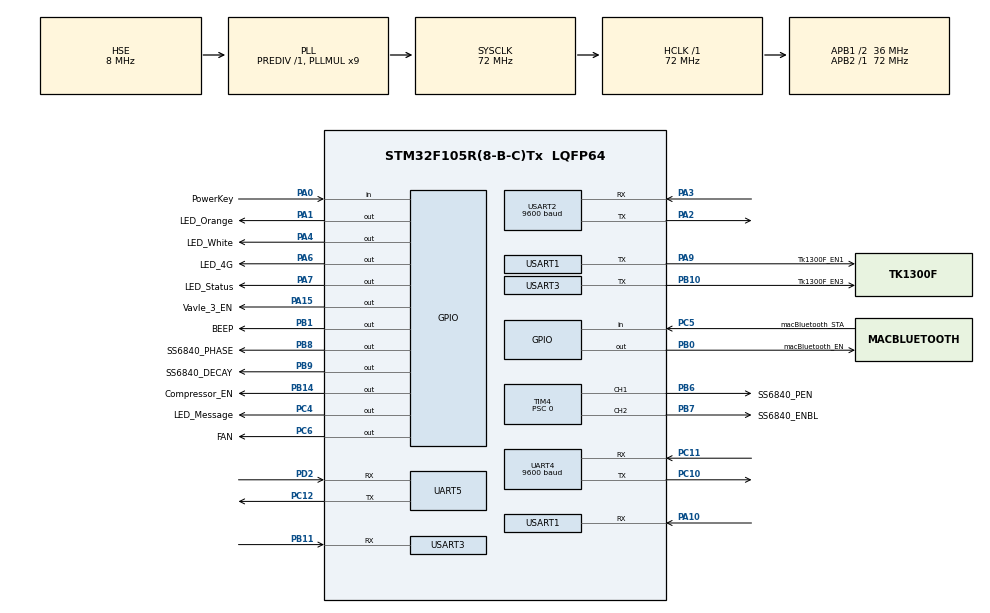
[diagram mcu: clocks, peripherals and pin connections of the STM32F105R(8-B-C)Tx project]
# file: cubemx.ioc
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Mcu.Family=STM32F1
Mcu.Name=STM32F105R(8-B-C)Tx
Mcu.Package=LQFP64
NVIC.PriorityGroup=NVIC_PRIORITYGROUP_4
PA0-WKUP.GPIO_Label=PowerKey
PA0-WKUP.GPIO_PuPd=GPIO_PULLUP
PA0-WKUP.Signal=GPIO_Input
PA1.GPIO_Label=LED_Orange
PA1.GPIO_Speed=GPIO_SPEED_FREQ_HIGH
PA1.Signal=GPIO_Output
PA10.Mode=Asynchronous
PA10.Signal=USART1_RX
PA13.Mode=Serial_Wire
PA13.Signal=SYS_JTMS-SWDIO
PA14.Mode=Serial_Wire
PA14.Signal=SYS_JTCK-SWCLK
PA15.GPIO_Label=Vavle_3_EN
PA15.GPIO_Speed=GPIO_SPEED_FREQ_HIGH
PA15.Signal=GPIO_Output
PA2.Mode=Asynchronous
PA2.Signal=USART2_TX
PA3.Mode=Asynchronous
PA3.Signal=USART2_RX
PA4.GPIO_Label=LED_White
PA4.GPIO_Speed=GPIO_SPEED_FREQ_HIGH
PA4.Signal=GPIO_Output
PA6.GPIO_Label=LED_4G
PA6.GPIO_Speed=GPIO_SPEED_FREQ_HIGH
PA6.Signal=GPIO_Output
PA7.GPIO_Label=LED_Status
PA7.GPIO_Speed=GPIO_SPEED_FREQ_HIGH
PA7.Signal=GPIO_Output
PA9.GPIO_Label=Tk1300F_EN1
PA9.Mode=Asynchronous
PA9.Signal=USART1_TX
PB0.GPIO_Label=macBluetooth_EN
PB0.GPIO_Speed=GPIO_SPEED_FREQ_HIGH
PB0.Signal=GPIO_Output
PB1.GPIO_Label=BEEP
PB1.GPIO_Speed=GPIO_SPEED_FREQ_HIGH
PB1.Signal=GPIO_Output
PB10.GPIO_Label=Tk1300F_EN3
PB10.Mode=Asynchronous
PB10.Signal=USART3_TX
PB11.Mode=Asynchronous
PB11.Signal=USART3_RX
PB14.GPIO_Label=Compressor_EN
PB14.GPIO_Speed=GPIO_SPEED_FREQ_HIGH
PB14.Signal=GPIO_Output
PB6.GPIO_Label=SS6840_PEN
PB6.Signal=S_TIM4_CH1
PB7.GPIO_Label=SS6840_ENBL
PB7.Signal=S_TIM4_CH2
PB8.GPIO_Label=SS6840_PHASE
PB8.GPIO_Speed=GPIO_SPEED_FREQ_HIGH
PB8.Signal=GPIO_Output
PB9.GPIO_Label=SS6840_DECAY
PB9.GPIO_Speed=GPIO_SPEED_FREQ_HIGH
PB9.Signal=GPIO_Output
PC10.Mode=Asynchronous
PC10.Signal=UART4_TX
PC11.Mode=Asynchronous
PC11.Signal=UART4_RX
PC12.Mode=Asynchronous
PC12.Signal=UART5_TX
PC4.GPIO_Label=LED_Message
PC4.GPIO_Speed=GPIO_SPEED_FREQ_HIGH
PC4.Signal=GPIO_Output
PC5.GPIO_Label=macBluetooth_STA
PC5.GPIO_PuPd=GPIO_PULLDOWN
PC5.Signal=GPIO_Input
PC6.GPIO_Label=FAN
PC6.GPIO_Speed=GPIO_SPEED_FREQ_HIGH
PC6.Signal=GPIO_Output
PD0-OSC_IN.Mode=HSE-External-Oscillator
PD0-OSC_IN.Signal=RCC_OSC_IN
PD1-OSC_OUT.Mode=HSE-External-Oscillator
PD1-OSC_OUT.Signal=RCC_OSC_OUT
PD2.Mode=Asynchronous
PD2.Signal=UART5_RX
ProjectManager.HeapSize=0x200
ProjectManager.StackSize=0x400
ProjectManager.TargetToolchain=MDK-ARM V5.32
RCC.AHBFreq_Value=72000000
RCC.APB1CLKDivider=RCC_HCLK_DIV2
RCC.APB1Freq_Value=36000000
RCC.APB1TimFreq_Value=72000000
RCC.APB2Freq_Value=72000000
RCC.APB2TimFreq_Value=72000000
RCC.HCLKFreq_Value=72000000
RCC.PLLMUL=RCC_PLL_MUL9
RCC.PLLSourceVirtual=RCC_PLLSOURCE_HSE
RCC.SYSCLKFreq_VALUE=72000000
RCC.SYSCLKSource=RCC_SYSCLKSOURCE_PLLCLK
RCC.USBFreq_Value=48000000
SH.S_TIM4_CH1.0=TIM4_CH1,PWM Generation1 CH1
SH.S_TIM4_CH2.0=TIM4_CH2,PWM Generation2 CH2
TIM4.AutoReloadPreload=TIM_AUTORELOAD_PRELOAD_ENABLE
TIM4.Channel-PWM\ Generation1\ CH1=TIM_CHANNEL_1
TIM4.Channel-PWM\ Generation2\ CH2=TIM_CHANNEL_2
TIM4.Period=65535
TIM4.Prescaler=0
UART4.BaudRate=9600
UART4.VirtualMode=Asynchronous
UART5.VirtualMode=Asynchronous
USART1.BaudRate=9600
USART1.Mode=MODE_RX
USART1.VirtualMode=VM_ASYNC
USART2.BaudRate=9600
USART2.VirtualMode=VM_ASYNC
USART3.BaudRate=9600
USART3.Mode=MODE_RX
USART3.VirtualMode=VM_ASYNC
board=custom

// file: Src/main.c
/* USER CODE BEGIN Header */
/**
  ******************************************************************************
  * @file           : main.c
  * @brief          : Main program body
  ******************************************************************************
  * @attention
  *
  * Copyright (c) 2024 STMicroelectronics.
  * All rights reserved.
  *
  * This software is licensed under terms that can be found in the LICENSE file
  * in the root directory of this software component.
  * If no LICENSE file comes with this software, it is provided AS-IS.
  *
  ******************************************************************************
  */
/* USER CODE END Header */
#include "main.h"

TIM_HandleTypeDef htim4;

UART_HandleTypeDef huart4;
UART_HandleTypeDef huart5;
UART_HandleTypeDef huart1;
UART_HandleTypeDef huart2;
UART_HandleTypeDef huart3;

void SystemClock_Config(void);
static void MX_GPIO_Init(void);
static void MX_UART5_Init(void);
static void MX_USART2_UART_Init(void);
static void MX_UART4_Init(void);
static void MX_USART1_UART_Init(void);
static void MX_USART3_UART_Init(void);
static void MX_TIM4_Init(void);
/* USER CODE BEGIN PFP */
extern void Proportional_Flow_Mode_Config(Mode_StructType mode);
extern void Proportional_Takt_Mode_Config(Mode_StructType mode);
/* USER CODE END PFP */

__WEAK int main(void)
{

  /* USER CODE BEGIN 1 */
  static rt_uint8_t BluetoothInitCnt = 0;
  static rt_uint8_t AutoHandCheckCnt = 0;
  static rt_uint8_t PowerLEDToggleCnt = 0;
  static rt_uint8_t OldModeCnt = 0;
  static rt_uint8_t HandStopCmdCnt = 0;
  static rt_uint32_t OldModeTick = 0;
  static rt_uint8_t SleepCnt = 0;

  rt_tick_t time_tick;
  extern uint8_t nowLocationCnt;
  /* USER CODE END 1 */

  /* MCU Configuration--------------------------------------------------------*/

  /* Reset of all peripherals, Initializes the Flash interface and the Systick. */
  HAL_Init();

  /* USER CODE BEGIN Init */
  Flag.Solenoid_Valve3_Limit = 0;
  Flag.OldMode = 0;
  Flag.APPWorkStatus = 0;
  Flag.SysConnectStatus = 0;

  /* USER CODE END Init */

  /* Configure the system clock */
  SystemClock_Config();

  /* Initialize all configured peripherals */
  MX_GPIO_Init();
  MX_UART5_Init();
  MX_USART2_UART_Init();
  MX_UART4_Init();
  MX_USART1_UART_Init();
  MX_USART3_UART_Init();
  MX_TIM4_Init();
  keyTimer_Init();
  Power_EN();

  uart2_decodeThread_Init();
  uart4_decodeThread_Init();
  /* USER CODE BEGIN 2 */
  PWM_Init();
  Record.KeyPowerCnt = 0;
  // 所有的硬件上电初始化在此进行 -------------------------------------------------------------------------------------------------
  /*! 上电初始化 -- 主气路初始化 */
  Main_Gas_Circuit_Off();
  Compressor_Off();
  /*! 风扇初始化 -- 关闭风扇 */
  Fan_Off();
  /*! SS6840H比例阀工作模式初始化 */
  SS6840H_Mode_Config(H_decay,clockwise);
  /* 关闭比例阀 */
  Proportional_Flow_Mode_Config(MODE_ZERO);
  /* 关闭比例阀使能 */
  Proportional_Takt_Mode_Config(MODE_FIVE);
  fal_init();
#if USE_MOVING_AVERAGE_FILTER
  /*! 初始化滤波器 */
  Init_filter(&Mov_Filtre);
#endif
  /* USER CODE END 2 */

  /* Infinite loop */
  while (1)
  {

    /* USER CODE BEGIN 3 */
    // 这是非老化模式运行的程序--------------------------------------------------------------------------------
    if(Flag.OldMode == 0)
    {
        if(Record.HandReset == 1){
              Proportional_Flow_Mode_Config(MODE_ZERO);
              Proportional_Takt_Mode_Config(MODE_FIVE);
        }

        if(Flag.Action == 1){
            Record.Hand_Location = 0x64;
            USART2_Order_to_Andriod(Order_Android_ACT_HAND_LOCATION_CMD);
            rt_thread_mdelay(50);
            Flag.Hand_ReturnStatus = 1;
            Record.HandReset = 1;
            USART2_Order_to_Andriod(Order_Android_ACT_HAND_IS_RETURNING_STATUS);
            rt_thread_mdelay(50);
            /* 控制手柄回退 */
            USART4_Order_to_Mechanical_Handle(Order_HAND_ACT_CTRL_BACK);
            Flag.Action = 0;
        }

     /* 蓝牙连接检测  -- 断开关闭所有功能 */
     if((((Flag.SysConnectStatus == 1) && (Record.KeyPowerCnt == 1)) && (BLUETOOTH_GetState() == 0)) || (Flag.SleepMode == 1)){
         /* 关闭比例阀 */
         Proportional_Flow_Mode_Config(MODE_ZERO);
         /* 关闭比例阀使能 */
         Proportional_Takt_Mode_Config(MODE_FIVE);
         /* 断开压缩机和风扇 */
         Compressor_Off();
         LED_Off(LED_Name_Status);
         if(Record.HandReset == 0 && Flag.APPWorkStatus != 2 && Flag.SleepMode != 1){
             /* 控制推杆停止运动 */
             USART4_Order_to_Mechanical_Handle(Order_HAND_ACT_CTRL_STOP);
         }
         Fan_On();
         /* 标志位复位 */
         if(Flag.SleepMode == 0){
             Flag.SysConnectStatus = 0;
             SleepCnt = 0;
         }
         /* 清除参数，避免开始 */
         Flag.Solenoid_Valve3_Limit = 0;
         Record.Takt_Mode = 5;
         Record.Flow_mode = 0;
         Record.BluetoothConnectCnt = 0;
         Flag.HandDirction = 0;
         for(; SleepCnt < 1; SleepCnt = 2){
             Main_Gas_Circuit_On();
             time_tick = rt_tick_get();
             rt_thread_delay_until(&time_tick, 5000);
         }
     }
     else if((((Flag.SysConnectStatus == 0) && (Record.KeyPowerCnt == 1)) && (BLUETOOTH_GetState() == 1))&&(Flag.SleepMode == 0) && (Flag.APPWorkStatus !=2 )){

#if 1
         /* 唤醒时先延时2s*/
         time_tick = rt_tick_get();
         rt_thread_delay_until(&time_tick, 2000);
#endif
         Compressor_On();
         Fan_On();
         Flag.SysConnectStatus = 1;
         Flag.Solenoid_Valve3_Limit = 1;

         if(Flag.Hand_ReturnStatus == 1){
             USART2_Order_to_Andriod(Order_Android_ACT_HAND_RETURN_STATUS);
         }
     }

       //-----------------------------------------------------------------------------------------------
       /* 按键计数检测 -- 按键次数表征电源开关 */
       /* KeyPowerPressCnt：0 , it indicates that the device is powered off */
       if((Record.KeyPowerCnt == 0) && (Record.KeyLong4sCnt != 1))
       {
           /* 关闭比例阀 */
           Proportional_Flow_Mode_Config(MODE_ZERO);
           /* 关闭比例阀使能 */
           Proportional_Takt_Mode_Config(MODE_FIVE);
           /* 发送手柄停止指指令 */
           for(; HandStopCmdCnt < 2; HandStopCmdCnt++){
               USART4_Order_to_Mechanical_Handle(Order_HAND_ACT_WORK_MODE_ZERO_CMD);
           }
           /* 标志位复位 */
           Flag.APPWorkStatus = 0;
           Flag.SysConnectStatus = 0;
           Flag.Solenoid_Valve3_Limit = 0;
           Flag.HandDirction = 0;
           BluetoothInitCnt = 0;
           BLUETOOTH_SET_EN(DISABLE);
           macTk1300f_Uart1_EN(DISABLE);
           macTk1300f_Uart3_EN(DISABLE);
           Power_Off_LED();
           Fan_Off();
           Compressor_Off();
       }
       /* KeyPowerPressCnt：1 , it indicates that the device is powered on */
       else if(((Record.KeyPowerCnt == 1) && (Record.KeyLong4sCnt != 1))&&(Flag.SleepMode == 0))
       {
           SleepCnt = 0;
           HandStopCmdCnt = 0;
           /* 按键开机初始化 */
           Power_On_LED();
           AutoHandCheckCnt = 0;
           for(;BluetoothInitCnt < 1; BluetoothInitCnt = 2){
               bluetoothTimer_Init();
               macTk1300f_Uart1_Init();
               macTk1300f_Uart3_Init();
               macTk1300f_Uart1_EN(ENABLE);
               macTk1300f_Uart3_EN(ENABLE);
           }
       }
       else if((Record.KeyPowerCnt == 2) && (Record.KeyLong4sCnt != 1))
       {
           Record.KeyPowerCnt = 0;
       }

       //-------------------------------------------------------------------------------------------------
       /* KeyLong4sCnt：1 , it indicates that the device is going to check itself */
       if(Record.KeyLong4sCnt == 1)
       {
           /*! 发送手柄自检测指令 */
           for(;AutoHandCheckCnt < 1; AutoHandCheckCnt = 2){
               BEEP_Blink(3);
               USART4_Order_to_Mechanical_Handle(Order_HAND_ACT_AUTO_CHECK);
               nowLocationCnt = 0;
               Flag.HandDirction = 0;
               /*! 关闭蓝牙的电源，防止在手柄自检过程中响应蓝牙的其他动作指令  */
               BLUETOOTH_SET_EN(DISABLE);
               Compressor_Off();
               /*! 设置机器状态为自检状态 */
               Flag.APPWorkStatus = 2;
               Flag.SysConnectStatus = 0;
               Flag.Solenoid_Valve3_Limit = 0;
               Proportional_Flow_Mode_Config(MODE_ZERO);
               Proportional_Takt_Mode_Config(MODE_FIVE);
           }

           if(PowerLEDToggleCnt == 0){
               Power_Off_LED();
               PowerLEDToggleCnt++;
           }
           else if(PowerLEDToggleCnt == 1){
               PowerLEDToggleCnt = 0;
               Power_On_LED();
           }
       }
       rt_thread_mdelay(500);
      }
      // 这是老化模式运行的程序--------------------------------------------------------------------------------
      else if(Flag.OldMode == 1)
      {
          for(;OldModeCnt < 1; OldModeCnt = 2){
              rt_kprintf("LOG:%d. Now is in old mode.\r\n",++Flag.log_cnt);
          }
          for(;OldModeTick < 1; OldModeTick = 2){
              macTk1300f_Uart1_Init();
              macTk1300f_Uart3_Init();
              macTk1300f_Uart1_EN(ENABLE);
              macTk1300f_Uart3_EN(ENABLE);
              Proportional_Flow_Mode_Config(MODE_ZERO);
              Proportional_Takt_Mode_Config(MODE_FIVE);
              Fan_On();
              Compressor_On();
          }

          if(Flag.Old_WorkMode == 1){
              Proportional_Flow_Mode_Config(MODE_FIVE);
              Proportional_Takt_Mode_Config(MODE_ONE);
              Flag.Solenoid_Valve3_Limit = 1;
          }
          else if(Flag.Old_WorkMode == 2){
              Proportional_Flow_Mode_Config(MODE_FOUR);
              Proportional_Takt_Mode_Config(MODE_TWO);
              Flag.Solenoid_Valve3_Limit = 1;
          }
          else if(Flag.OldMode == 3){
              Proportional_Flow_Mode_Config(MODE_THREE);
              Proportional_Takt_Mode_Config(MODE_THREE);
              Flag.Solenoid_Valve3_Limit = 1;
          }
          else if(Flag.OldMode == 4){
              Proportional_Flow_Mode_Config(MODE_TWO);
              Proportional_Takt_Mode_Config(MODE_FOUR);
              Flag.Solenoid_Valve3_Limit = 1;
          }
       rt_thread_mdelay(500);
      }

  }
  /* USER CODE END 3 */
}

void SystemClock_Config(void)
{
  RCC_OscInitTypeDef RCC_OscInitStruct = {0};
  RCC_ClkInitTypeDef RCC_ClkInitStruct = {0};

  /** Initializes the RCC Oscillators according to the specified parameters
  * in the RCC_OscInitTypeDef structure.
  */
  RCC_OscInitStruct.OscillatorType = RCC_OSCILLATORTYPE_HSE;
  RCC_OscInitStruct.HSEState = RCC_HSE_ON;
  RCC_OscInitStruct.HSEPredivValue = RCC_HSE_PREDIV_DIV1;
  RCC_OscInitStruct.HSIState = RCC_HSI_ON;
  RCC_OscInitStruct.Prediv1Source = RCC_PREDIV1_SOURCE_HSE;
  RCC_OscInitStruct.PLL.PLLState = RCC_PLL_ON;
  RCC_OscInitStruct.PLL.PLLSource = RCC_PLLSOURCE_HSE;
  RCC_OscInitStruct.PLL.PLLMUL = RCC_PLL_MUL9;
  RCC_OscInitStruct.PLL2.PLL2State = RCC_PLL_NONE;
  if (HAL_RCC_OscConfig(&RCC_OscInitStruct) != HAL_OK)
  {
    Error_Handler();
  }

  /** Initializes the CPU, AHB and APB buses clocks
  */
  RCC_ClkInitStruct.ClockType = RCC_CLOCKTYPE_HCLK|RCC_CLOCKTYPE_SYSCLK
                              |RCC_CLOCKTYPE_PCLK1|RCC_CLOCKTYPE_PCLK2;
  RCC_ClkInitStruct.SYSCLKSource = RCC_SYSCLKSOURCE_PLLCLK;
  RCC_ClkInitStruct.AHBCLKDivider = RCC_SYSCLK_DIV1;
  RCC_ClkInitStruct.APB1CLKDivider = RCC_HCLK_DIV2;
  RCC_ClkInitStruct.APB2CLKDivider = RCC_HCLK_DIV1;

  if (HAL_RCC_ClockConfig(&RCC_ClkInitStruct, FLASH_LATENCY_2) != HAL_OK)
  {
    Error_Handler();
  }

  /** Configure the Systick interrupt time
  */
  __HAL_RCC_PLLI2S_ENABLE();
}

static void MX_TIM4_Init(void)
{

  TIM_MasterConfigTypeDef sMasterConfig = {0};
  TIM_OC_InitTypeDef sConfigOC = {0};

  htim4.Instance = TIM4;
  htim4.Init.Prescaler = 0;
  htim4.Init.CounterMode = TIM_COUNTERMODE_UP;
  htim4.Init.Period = 65535;
  htim4.Init.ClockDivision = TIM_CLOCKDIVISION_DIV1;
  htim4.Init.AutoReloadPreload = TIM_AUTORELOAD_PRELOAD_ENABLE;
  if (HAL_TIM_PWM_Init(&htim4) != HAL_OK)
  {
    Error_Handler();
  }
  sMasterConfig.MasterOutputTrigger = TIM_TRGO_RESET;
  sMasterConfig.MasterSlaveMode = TIM_MASTERSLAVEMODE_DISABLE;
  if (HAL_TIMEx_MasterConfigSynchronization(&htim4, &sMasterConfig) != HAL_OK)
  {
    Error_Handler();
  }
  sConfigOC.OCMode = TIM_OCMODE_PWM1;
  sConfigOC.Pulse = 0;
  sConfigOC.OCPolarity = TIM_OCPOLARITY_HIGH;
  sConfigOC.OCFastMode = TIM_OCFAST_DISABLE;
  if (HAL_TIM_PWM_ConfigChannel(&htim4, &sConfigOC, TIM_CHANNEL_1) != HAL_OK)
  {
    Error_Handler();
  }
  if (HAL_TIM_PWM_ConfigChannel(&htim4, &sConfigOC, TIM_CHANNEL_2) != HAL_OK)
  {
    Error_Handler();
  }
  HAL_TIM_MspPostInit(&htim4);

}

static void MX_UART4_Init(void)
{

  huart4.Instance = UART4;
  huart4.Init.BaudRate = 9600;
  huart4.Init.WordLength = UART_WORDLENGTH_8B;
  huart4.Init.StopBits = UART_STOPBITS_1;
  huart4.Init.Parity = UART_PARITY_NONE;
  huart4.Init.Mode = UART_MODE_TX_RX;
  huart4.Init.HwFlowCtl = UART_HWCONTROL_NONE;
  huart4.Init.OverSampling = UART_OVERSAMPLING_16;
  if (HAL_UART_Init(&huart4) != HAL_OK)
  {
    Error_Handler();
  }

}

static void MX_UART5_Init(void)
{

  huart5.Instance = UART5;
  huart5.Init.BaudRate = 115200;
  huart5.Init.WordLength = UART_WORDLENGTH_8B;
  huart5.Init.StopBits = UART_STOPBITS_1;
  huart5.Init.Parity = UART_PARITY_NONE;
  huart5.Init.Mode = UART_MODE_TX_RX;
  huart5.Init.HwFlowCtl = UART_HWCONTROL_NONE;
  huart5.Init.OverSampling = UART_OVERSAMPLING_16;
  if (HAL_UART_Init(&huart5) != HAL_OK)
  {
    Error_Handler();
  }

}

static void MX_USART1_UART_Init(void)
{

  huart1.Instance = USART1;
  huart1.Init.BaudRate = 9600;
  huart1.Init.WordLength = UART_WORDLENGTH_8B;
  huart1.Init.StopBits = UART_STOPBITS_1;
  huart1.Init.Parity = UART_PARITY_NONE;
  huart1.Init.Mode = UART_MODE_RX;
  huart1.Init.HwFlowCtl = UART_HWCONTROL_NONE;
  huart1.Init.OverSampling = UART_OVERSAMPLING_16;
  if (HAL_UART_Init(&huart1) != HAL_OK)
  {
    Error_Handler();
  }

}

static void MX_USART2_UART_Init(void)
{

  huart2.Instance = USART2;
  huart2.Init.BaudRate = 9600;
  huart2.Init.WordLength = UART_WORDLENGTH_8B;
  huart2.Init.StopBits = UART_STOPBITS_1;
  huart2.Init.Parity = UART_PARITY_NONE;
  huart2.Init.Mode = UART_MODE_TX_RX;
  huart2.Init.HwFlowCtl = UART_HWCONTROL_NONE;
  huart2.Init.OverSampling = UART_OVERSAMPLING_16;
  if (HAL_UART_Init(&huart2) != HAL_OK)
  {
    Error_Handler();
  }

}

static void MX_USART3_UART_Init(void)
{

  huart3.Instance = USART3;
  huart3.Init.BaudRate = 9600;
  huart3.Init.WordLength = UART_WORDLENGTH_8B;
  huart3.Init.StopBits = UART_STOPBITS_1;
  huart3.Init.Parity = UART_PARITY_NONE;
  huart3.Init.Mode = UART_MODE_RX;
  huart3.Init.HwFlowCtl = UART_HWCONTROL_NONE;
  huart3.Init.OverSampling = UART_OVERSAMPLING_16;
  if (HAL_UART_Init(&huart3) != HAL_OK)
  {
    Error_Handler();
  }

}

static void MX_GPIO_Init(void)
{
  GPIO_InitTypeDef GPIO_InitStruct = {0};

  /* GPIO Ports Clock Enable */
  __HAL_RCC_GPIOD_CLK_ENABLE();
  __HAL_RCC_GPIOA_CLK_ENABLE();
  __HAL_RCC_GPIOC_CLK_ENABLE();
  __HAL_RCC_GPIOB_CLK_ENABLE();

  /*Configure GPIO pin Output Level */
  HAL_GPIO_WritePin(GPIOA, LED_Orange_Pin|LED_White_Pin|LED_4G_Pin|LED_Status_Pin
                          |Vavle_3_EN_Pin, GPIO_PIN_RESET);

  /*Configure GPIO pin Output Level */
  HAL_GPIO_WritePin(GPIOC, LED_Message_Pin|FAN_Pin, GPIO_PIN_RESET);

  /*Configure GPIO pin Output Level */
  HAL_GPIO_WritePin(GPIOB, macBluetooth_EN_Pin|BEEP_Pin|Compressor_EN_Pin|SS6840_PHASE_Pin
                          |SS6840_DECAY_Pin, GPIO_PIN_RESET);

  /*Configure GPIO pin : PowerKey_Pin */
  GPIO_InitStruct.Pin = PowerKey_Pin;
  GPIO_InitStruct.Mode = GPIO_MODE_INPUT;
  GPIO_InitStruct.Pull = GPIO_PULLUP;
  HAL_GPIO_Init(PowerKey_GPIO_Port, &GPIO_InitStruct);

  /*Configure GPIO pins : LED_Orange_Pin LED_White_Pin LED_4G_Pin LED_Status_Pin
                           Vavle_3_EN_Pin */
  GPIO_InitStruct.Pin = LED_Orange_Pin|LED_White_Pin|LED_4G_Pin|LED_Status_Pin
                          |Vavle_3_EN_Pin;
  GPIO_InitStruct.Mode = GPIO_MODE_OUTPUT_PP;
  GPIO_InitStruct.Pull = GPIO_NOPULL;
  GPIO_InitStruct.Speed = GPIO_SPEED_FREQ_HIGH;
  HAL_GPIO_Init(GPIOA, &GPIO_InitStruct);

  /*Configure GPIO pins : LED_Message_Pin FAN_Pin */
  GPIO_InitStruct.Pin = LED_Message_Pin|FAN_Pin;
  GPIO_InitStruct.Mode = GPIO_MODE_OUTPUT_PP;
  GPIO_InitStruct.Pull = GPIO_NOPULL;
  GPIO_InitStruct.Speed = GPIO_SPEED_FREQ_HIGH;
  HAL_GPIO_Init(GPIOC, &GPIO_InitStruct);

  /*Configure GPIO pin : macBluetooth_STA_Pin */
  GPIO_InitStruct.Pin = macBluetooth_STA_Pin;
  GPIO_InitStruct.Mode = GPIO_MODE_INPUT;
  GPIO_InitStruct.Pull = GPIO_PULLDOWN;
  HAL_GPIO_Init(macBluetooth_STA_GPIO_Port, &GPIO_InitStruct);

  /*Configure GPIO pins : macBluetooth_EN_Pin BEEP_Pin Compressor_EN_Pin SS6840_PHASE_Pin
                           SS6840_DECAY_Pin */
  GPIO_InitStruct.Pin = macBluetooth_EN_Pin|BEEP_Pin|Compressor_EN_Pin|SS6840_PHASE_Pin
                          |SS6840_DECAY_Pin;
  GPIO_InitStruct.Mode = GPIO_MODE_OUTPUT_PP;
  GPIO_InitStruct.Pull = GPIO_NOPULL;
  GPIO_InitStruct.Speed = GPIO_SPEED_FREQ_HIGH;
  HAL_GPIO_Init(GPIOB, &GPIO_InitStruct);

}
